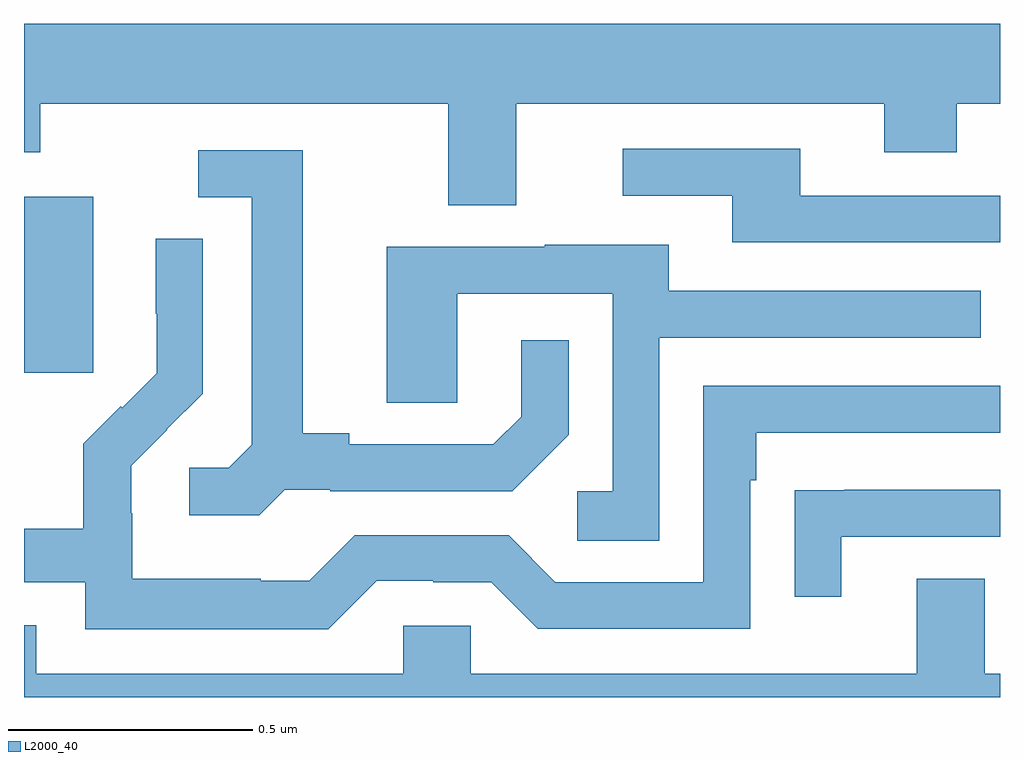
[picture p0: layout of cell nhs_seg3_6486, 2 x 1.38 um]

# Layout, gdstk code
import gdstk
lib = gdstk.Library(unit=1e-6, precision=1e-09)
def R(c, l, rs):  # rectangles x0, y0, x1, y1
    for r in rs: c.add(gdstk.rectangle(r[:2], r[2:], *l))
def P(c, l, *ps):  # polygons
    for p in ps: c.add(gdstk.Polygon(p, *l))
L2000_40 = (2000, 40)

nhs_seg3_6486 = lib.new_cell('nhs_seg3_6486')
R(nhs_seg3_6486, L2000_40, [(192,667.065,192.142,667.426)])
P(nhs_seg3_6486, L2000_40, [(193.009,667.616),(193.763,667.616),(193.763,667.517),(193.911,667.517),(193.911,667.616),(194,667.616),(194,667.78),(192,667.78),(192,667.517),(192.033,667.517),(192.033,667.616),(192.869,667.616),(192.869,667.408),(193.009,667.408)],
  [(194,667.428),(193.591,667.428),(193.591,667.524),(193.227,667.524),(193.227,667.428),(193.451,667.428),(193.451,667.332),(194,667.332)],
  [(192.534,666.825),(192.628,666.825),(192.628,666.822),(193,666.822),(193.116,666.938),(193.116,667.132),(193.019,667.132),(193.019,666.975),(192.962,666.918),(192.667,666.918),(192.667,666.941),(192.571,666.941),(192.571,667.521),(192.357,667.521),(192.357,667.425),(192.467,667.425),(192.467,666.917),(192.42,666.87),(192.339,666.87),(192.339,666.773),(192.482,666.773)],
  [(192.723,666.639),(192.839,666.639),(192.839,666.636),(192.957,666.636),(193.053,666.54),(193.488,666.54),(193.488,666.845),(193.501,666.845),(193.501,666.942),(194,666.942),(194,667.038),(193.392,667.038),(193.392,666.636),(193.089,666.636),(192.993,666.732),(192.678,666.732),(192.585,666.639),(192.485,666.639),(192.485,666.643),(192.222,666.643),(192.222,666.777),(192.22,666.777),(192.22,666.874),(192.294,666.948),(192.293,666.949),(192.366,667.022),(192.366,667.34),(192.27,667.34),(192.27,667.186),(192.272,667.186),(192.272,667.064),(192.201,666.993),(192.198,666.996),(192.121,666.919),(192.121,666.745),(192,666.745),(192,666.636),(192.126,666.636),(192.126,666.539),(192.623,666.539)],
  [(193.302,667.137),(193.961,667.137),(193.961,667.233),(193.321,667.233),(193.321,667.327),(193.067,667.327),(193.067,667.323),(192.743,667.323),(192.743,667.003),(192.888,667.003),(192.888,667.227),(193.206,667.227),(193.206,666.822),(193.134,666.822),(193.134,666.721),(193.302,666.721)],
  [(193.675,666.729),(194,666.729),(194,666.825),(193.681,666.825),(193.681,666.824),(193.579,666.824),(193.579,666.606),(193.675,666.606)],
  [(192,666.547),(192,666.4),(194,666.4),(194,666.448),(193.969,666.448),(193.969,666.643),(193.829,666.643),(193.829,666.448),(192.915,666.448),(192.915,666.546),(192.777,666.546),(192.777,666.448),(192.025,666.448),(192.025,666.547)])

lib.write_gds('nhs_seg3_6486.gds')
